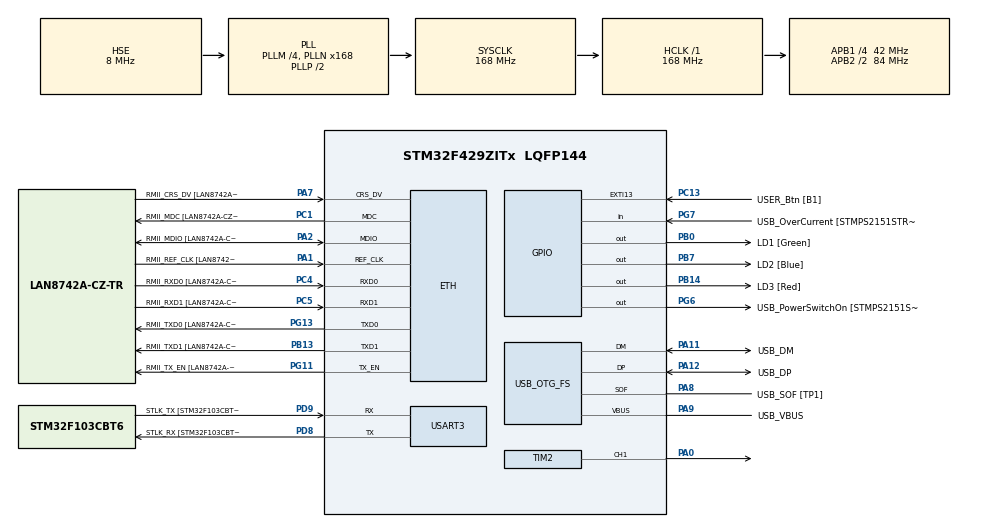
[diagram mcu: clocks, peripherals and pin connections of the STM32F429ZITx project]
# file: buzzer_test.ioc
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ETH.MediaInterface=HAL_ETH_RMII_MODE
ETH.PHY_Name=LAN8742A_PHY_ADDRESS
ETH.PHY_Value=0
ETH.PhyAddress=0
Mcu.Family=STM32F4
Mcu.Name=STM32F429ZITx
Mcu.Package=LQFP144
NVIC.PriorityGroup=NVIC_PRIORITYGROUP_4
NVIC.USART3_IRQn=true\:0\:0\:false\:false\:true\:true\:true\:true
PA0/WKUP.Signal=S_TIM2_CH1_ETR
PA1.GPIO_Label=RMII_REF_CLK [LAN8742A-CZ-TR_REFCLK0]
PA1.Mode=RMII
PA1.Signal=ETH_REF_CLK
PA10.GPIO_Label=USB_ID
PA10.Signal=USB_OTG_FS_ID
PA11.GPIO_Label=USB_DM
PA11.Mode=Device_Only
PA11.Signal=USB_OTG_FS_DM
PA12.GPIO_Label=USB_DP
PA12.Mode=Device_Only
PA12.Signal=USB_OTG_FS_DP
PA13.GPIO_Label=TMS
PA13.Mode=Serial_Wire
PA13.Signal=SYS_JTMS-SWDIO
PA14.GPIO_Label=TCK
PA14.Mode=Serial_Wire
PA14.Signal=SYS_JTCK-SWCLK
PA2.GPIO_Label=RMII_MDIO [LAN8742A-CZ-TR_MDIO]
PA2.Mode=RMII
PA2.Signal=ETH_MDIO
PA7.GPIO_Label=RMII_CRS_DV [LAN8742A-CZ-TR_CRS_DV]
PA7.Mode=RMII
PA7.Signal=ETH_CRS_DV
PA8.GPIO_Label=USB_SOF [TP1]
PA8.Mode=Activate_SOF_FS
PA8.Signal=USB_OTG_FS_SOF
PA9.GPIO_Label=USB_VBUS
PA9.Mode=Activate_VBUS
PA9.Signal=USB_OTG_FS_VBUS
PB0.GPIO_Label=LD1 [Green]
PB0.Signal=GPIO_Output
PB13.GPIO_Label=RMII_TXD1 [LAN8742A-CZ-TR_TXD1]
PB13.Mode=RMII
PB13.Signal=ETH_TXD1
PB14.GPIO_Label=LD3 [Red]
PB14.Signal=GPIO_Output
PB7.GPIO_Label=LD2 [Blue]
PB7.Signal=GPIO_Output
PC1.GPIO_Label=RMII_MDC [LAN8742A-CZ-TR_MDC]
PC1.Mode=RMII
PC1.Signal=ETH_MDC
PC13.GPIO_Label=USER_Btn [B1]
PC13.Signal=GPXTI13
PC14/OSC32_IN.Mode=LSE-External-Oscillator
PC14/OSC32_IN.Signal=RCC_OSC32_IN
PC15/OSC32_OUT.Mode=LSE-External-Oscillator
PC15/OSC32_OUT.Signal=RCC_OSC32_OUT
PC4.GPIO_Label=RMII_RXD0 [LAN8742A-CZ-TR_RXD0]
PC4.Mode=RMII
PC4.Signal=ETH_RXD0
PC5.GPIO_Label=RMII_RXD1 [LAN8742A-CZ-TR_RXD1]
PC5.Mode=RMII
PC5.Signal=ETH_RXD1
PD8.GPIO_Label=STLK_RX [STM32F103CBT6_PA3]
PD8.Mode=Asynchronous
PD8.Signal=USART3_TX
PD9.GPIO_Label=STLK_TX [STM32F103CBT6_PA2]
PD9.Mode=Asynchronous
PD9.Signal=USART3_RX
PG11.GPIO_Label=RMII_TX_EN [LAN8742A-CZ-TR_TXEN]
PG11.Mode=RMII
PG11.Signal=ETH_TX_EN
PG13.GPIO_Label=RMII_TXD0 [LAN8742A-CZ-TR_TXD0]
PG13.Mode=RMII
PG13.Signal=ETH_TXD0
PG6.GPIO_Label=USB_PowerSwitchOn [STMPS2151STR_EN]
PG6.Signal=GPIO_Output
PG7.GPIO_Label=USB_OverCurrent [STMPS2151STR_FAULT]
PG7.Signal=GPIO_Input
PH0/OSC_IN.GPIO_Label=MCO [STM32F103CBT6_PA8]
PH0/OSC_IN.Mode=HSE-External-Clock-Source
PH0/OSC_IN.Signal=RCC_OSC_IN
PH1/OSC_OUT.Mode=HSE-External-Clock-Source
PH1/OSC_OUT.Signal=RCC_OSC_OUT
ProjectManager.HeapSize=0x200
ProjectManager.StackSize=0x400
ProjectManager.TargetToolchain=STM32CubeIDE
RCC.48MHZClocksFreq_Value=48000000
RCC.AHBFreq_Value=168000000
RCC.APB1CLKDivider=RCC_HCLK_DIV4
RCC.APB1Freq_Value=42000000
RCC.APB1TimFreq_Value=84000000
RCC.APB2CLKDivider=RCC_HCLK_DIV2
RCC.APB2Freq_Value=84000000
RCC.APB2TimCLKDivider=2
RCC.APB2TimFreq_Value=168000000
RCC.CortexFreq_Value=168000000
RCC.HCLKFreq_Value=168000000
RCC.HSE_VALUE=8000000
RCC.HSI_VALUE=16000000
RCC.PLLM=4
RCC.PLLMUL=RCC_PLL_MUL9
RCC.PLLN=168
RCC.PLLQ=7
RCC.PRESCALERUSB=RCC_USBCLKSOURCE_PLL_DIV1_5
RCC.SYSCLKFreq_VALUE=168000000
RCC.SYSCLKSource=RCC_SYSCLKSOURCE_PLLCLK
RCC.SYSCLKSourceVirtual=RCC_SYSCLKSOURCE_PLLCLK
RCC.USBFreq_Value=48000000
RCC.VCOOutputFreq_Value=336000000
SH.S_TIM2_CH1_ETR.0=TIM2_CH1,PWM Generation1 CH1
TIM2.AutoReloadPreload=TIM_AUTORELOAD_PRELOAD_ENABLE
TIM2.Channel-PWM\ Generation1\ CH1=TIM_CHANNEL_1
TIM2.CounterMode=TIM_COUNTERMODE_DOWN
TIM2.Period=168-1
TIM2.Prescaler=1000-1
TIM2.Pulse-PWM\ Generation1\ CH1=84
USART3.VirtualMode=VM_ASYNC
USB_OTG_FS.VirtualMode=Device_Only
VP_TIM2_VS_ClockSourceINT.Mode=Internal
board=NUCLEO-F429ZI

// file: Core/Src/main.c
/* USER CODE BEGIN Header */
/**
  ******************************************************************************
  * @file           : main.c
  * @brief          : Main program body
  ******************************************************************************
  * @attention
  *
  * Copyright (c) 2023 STMicroelectronics.
  * All rights reserved.
  *
  * This software is licensed under terms that can be found in the LICENSE file
  * in the root directory of this software component.
  * If no LICENSE file comes with this software, it is provided AS-IS.
  *
  ******************************************************************************
  */
/* USER CODE END Header */
#include "main.h"
#include "string.h"

ETH_TxPacketConfig TxConfig;
ETH_DMADescTypeDef  DMARxDscrTab[ETH_RX_DESC_CNT]; /* Ethernet Rx DMA Descriptors */
ETH_DMADescTypeDef  DMATxDscrTab[ETH_TX_DESC_CNT]; /* Ethernet Tx DMA Descriptors */

ETH_HandleTypeDef heth;

TIM_HandleTypeDef htim2;

UART_HandleTypeDef huart3;

PCD_HandleTypeDef hpcd_USB_OTG_FS;

/* USER CODE BEGIN PV */
typedef enum {
	N = 0,
    C = 956,
    D = 852,
    E = 758,
    F = 716,
    G = 638,
    A = 568,
    B = 506,
    C6 = 478
}_NOTE;
_NOTE note;
uint8_t rx_data=0;
uint32_t IRcalled=0;
/* USER CODE END PV */

void SystemClock_Config(void);
static void MX_GPIO_Init(void);
static void MX_ETH_Init(void);
static void MX_USART3_UART_Init(void);
static void MX_USB_OTG_FS_PCD_Init(void);
static void MX_TIM2_Init(void);
/* USER CODE BEGIN PFP */
void piano(_NOTE note);
_NOTE numtoscale(uint8_t strnum);
/* USER CODE END PFP */

/* USER CODE BEGIN 0 */

_NOTE numtoscale(uint8_t strnum){
	if(strnum=='1'){
		return C;
	}else if(strnum=='2'){
		return D;
	}else if(strnum=='3'){
		return E;
	}else if(strnum=='4'){
		return F;
	}else if(strnum=='5'){
		return G;
	}else if(strnum=='6'){
		return A;
	}else if(strnum=='7'){
		return B;
	}else if(strnum=='8'){
		return C6;
	}else
		return N;
}
void piano(_NOTE scale){

	HAL_TIM_PWM_Start(&htim2, TIM_CHANNEL_1);
	TIM2->PSC = scale;
//	TIM2->ARR = scale;
//	TIM2->CCR1 = TIM2->ARR / 2;
	HAL_Delay(300);
	HAL_TIM_PWM_Stop(&htim2, TIM_CHANNEL_1);

}
/* USER CODE END 0 */

int main(void)
{

  /* MCU Configuration--------------------------------------------------------*/

  /* Reset of all peripherals, Initializes the Flash interface and the Systick. */
  HAL_Init();

  /* Configure the system clock */
  SystemClock_Config();

  /* Initialize all configured peripherals */
  MX_GPIO_Init();
  MX_ETH_Init();
  MX_USART3_UART_Init();
  MX_USB_OTG_FS_PCD_Init();
  MX_TIM2_Init();
  /* USER CODE BEGIN 2 */
  HAL_UART_Receive_IT(&huart3, &rx_data, 1);
 //  uint8_t test[8]={'1','2','3','4','5','6','7','8'};
   uint32_t temp;
  /* USER CODE END 2 */

  /* Infinite loop */
  /* USER CODE BEGIN WHILE */
  while (1)
  {
	  temp=IRcalled;
	  	  if(rx_data!=0){
	  		  note = numtoscale(rx_data);
	  		  piano(note);
	  		  if(temp==IRcalled){
	  			  rx_data=0;
	  		  }
	  	  }
    /* USER CODE END WHILE */

  }
}

void SystemClock_Config(void)
{
  RCC_OscInitTypeDef RCC_OscInitStruct = {0};
  RCC_ClkInitTypeDef RCC_ClkInitStruct = {0};

  /** Configure the main internal regulator output voltage
  */
  __HAL_RCC_PWR_CLK_ENABLE();
  __HAL_PWR_VOLTAGESCALING_CONFIG(PWR_REGULATOR_VOLTAGE_SCALE1);

  /** Initializes the RCC Oscillators according to the specified parameters
  * in the RCC_OscInitTypeDef structure.
  */
  RCC_OscInitStruct.OscillatorType = RCC_OSCILLATORTYPE_HSE;
  RCC_OscInitStruct.HSEState = RCC_HSE_BYPASS;
  RCC_OscInitStruct.PLL.PLLState = RCC_PLL_ON;
  RCC_OscInitStruct.PLL.PLLSource = RCC_PLLSOURCE_HSE;
  RCC_OscInitStruct.PLL.PLLM = 4;
  RCC_OscInitStruct.PLL.PLLN = 168;
  RCC_OscInitStruct.PLL.PLLP = RCC_PLLP_DIV2;
  RCC_OscInitStruct.PLL.PLLQ = 7;
  if (HAL_RCC_OscConfig(&RCC_OscInitStruct) != HAL_OK)
  {
    Error_Handler();
  }

  /** Initializes the CPU, AHB and APB buses clocks
  */
  RCC_ClkInitStruct.ClockType = RCC_CLOCKTYPE_HCLK|RCC_CLOCKTYPE_SYSCLK
                              |RCC_CLOCKTYPE_PCLK1|RCC_CLOCKTYPE_PCLK2;
  RCC_ClkInitStruct.SYSCLKSource = RCC_SYSCLKSOURCE_PLLCLK;
  RCC_ClkInitStruct.AHBCLKDivider = RCC_SYSCLK_DIV1;
  RCC_ClkInitStruct.APB1CLKDivider = RCC_HCLK_DIV4;
  RCC_ClkInitStruct.APB2CLKDivider = RCC_HCLK_DIV2;

  if (HAL_RCC_ClockConfig(&RCC_ClkInitStruct, FLASH_LATENCY_5) != HAL_OK)
  {
    Error_Handler();
  }
}

static void MX_ETH_Init(void)
{

   static uint8_t MACAddr[6];

  heth.Instance = ETH;
  MACAddr[0] = 0x00;
  MACAddr[1] = 0x80;
  MACAddr[2] = 0xE1;
  MACAddr[3] = 0x00;
  MACAddr[4] = 0x00;
  MACAddr[5] = 0x00;
  heth.Init.MACAddr = &MACAddr[0];
  heth.Init.MediaInterface = HAL_ETH_RMII_MODE;
  heth.Init.TxDesc = DMATxDscrTab;
  heth.Init.RxDesc = DMARxDscrTab;
  heth.Init.RxBuffLen = 1524;

  if (HAL_ETH_Init(&heth) != HAL_OK)
  {
    Error_Handler();
  }

  memset(&TxConfig, 0 , sizeof(ETH_TxPacketConfig));
  TxConfig.Attributes = ETH_TX_PACKETS_FEATURES_CSUM | ETH_TX_PACKETS_FEATURES_CRCPAD;
  TxConfig.ChecksumCtrl = ETH_CHECKSUM_IPHDR_PAYLOAD_INSERT_PHDR_CALC;
  TxConfig.CRCPadCtrl = ETH_CRC_PAD_INSERT;

}

static void MX_TIM2_Init(void)
{

  TIM_ClockConfigTypeDef sClockSourceConfig = {0};
  TIM_MasterConfigTypeDef sMasterConfig = {0};
  TIM_OC_InitTypeDef sConfigOC = {0};

  htim2.Instance = TIM2;
  htim2.Init.Prescaler = 1000-1;
  htim2.Init.CounterMode = TIM_COUNTERMODE_DOWN;
  htim2.Init.Period = 168-1;
  htim2.Init.ClockDivision = TIM_CLOCKDIVISION_DIV1;
  htim2.Init.AutoReloadPreload = TIM_AUTORELOAD_PRELOAD_ENABLE;
  if (HAL_TIM_Base_Init(&htim2) != HAL_OK)
  {
    Error_Handler();
  }
  sClockSourceConfig.ClockSource = TIM_CLOCKSOURCE_INTERNAL;
  if (HAL_TIM_ConfigClockSource(&htim2, &sClockSourceConfig) != HAL_OK)
  {
    Error_Handler();
  }
  if (HAL_TIM_PWM_Init(&htim2) != HAL_OK)
  {
    Error_Handler();
  }
  sMasterConfig.MasterOutputTrigger = TIM_TRGO_RESET;
  sMasterConfig.MasterSlaveMode = TIM_MASTERSLAVEMODE_DISABLE;
  if (HAL_TIMEx_MasterConfigSynchronization(&htim2, &sMasterConfig) != HAL_OK)
  {
    Error_Handler();
  }
  sConfigOC.OCMode = TIM_OCMODE_PWM1;
  sConfigOC.Pulse = 84;
  sConfigOC.OCPolarity = TIM_OCPOLARITY_HIGH;
  sConfigOC.OCFastMode = TIM_OCFAST_DISABLE;
  if (HAL_TIM_PWM_ConfigChannel(&htim2, &sConfigOC, TIM_CHANNEL_1) != HAL_OK)
  {
    Error_Handler();
  }
  HAL_TIM_MspPostInit(&htim2);

}

static void MX_USART3_UART_Init(void)
{

  huart3.Instance = USART3;
  huart3.Init.BaudRate = 115200;
  huart3.Init.WordLength = UART_WORDLENGTH_8B;
  huart3.Init.StopBits = UART_STOPBITS_1;
  huart3.Init.Parity = UART_PARITY_NONE;
  huart3.Init.Mode = UART_MODE_TX_RX;
  huart3.Init.HwFlowCtl = UART_HWCONTROL_NONE;
  huart3.Init.OverSampling = UART_OVERSAMPLING_16;
  if (HAL_UART_Init(&huart3) != HAL_OK)
  {
    Error_Handler();
  }

}

static void MX_USB_OTG_FS_PCD_Init(void)
{

  hpcd_USB_OTG_FS.Instance = USB_OTG_FS;
  hpcd_USB_OTG_FS.Init.dev_endpoints = 4;
  hpcd_USB_OTG_FS.Init.speed = PCD_SPEED_FULL;
  hpcd_USB_OTG_FS.Init.dma_enable = DISABLE;
  hpcd_USB_OTG_FS.Init.phy_itface = PCD_PHY_EMBEDDED;
  hpcd_USB_OTG_FS.Init.Sof_enable = ENABLE;
  hpcd_USB_OTG_FS.Init.low_power_enable = DISABLE;
  hpcd_USB_OTG_FS.Init.lpm_enable = DISABLE;
  hpcd_USB_OTG_FS.Init.vbus_sensing_enable = ENABLE;
  hpcd_USB_OTG_FS.Init.use_dedicated_ep1 = DISABLE;
  if (HAL_PCD_Init(&hpcd_USB_OTG_FS) != HAL_OK)
  {
    Error_Handler();
  }

}

static void MX_GPIO_Init(void)
{
  GPIO_InitTypeDef GPIO_InitStruct = {0};

  /* GPIO Ports Clock Enable */
  __HAL_RCC_GPIOC_CLK_ENABLE();
  __HAL_RCC_GPIOH_CLK_ENABLE();
  __HAL_RCC_GPIOA_CLK_ENABLE();
  __HAL_RCC_GPIOB_CLK_ENABLE();
  __HAL_RCC_GPIOD_CLK_ENABLE();
  __HAL_RCC_GPIOG_CLK_ENABLE();

  /*Configure GPIO pin Output Level */
  HAL_GPIO_WritePin(GPIOB, LD1_Pin|LD3_Pin|LD2_Pin, GPIO_PIN_RESET);

  /*Configure GPIO pin Output Level */
  HAL_GPIO_WritePin(USB_PowerSwitchOn_GPIO_Port, USB_PowerSwitchOn_Pin, GPIO_PIN_RESET);

  /*Configure GPIO pin : USER_Btn_Pin */
  GPIO_InitStruct.Pin = USER_Btn_Pin;
  GPIO_InitStruct.Mode = GPIO_MODE_IT_RISING;
  GPIO_InitStruct.Pull = GPIO_NOPULL;
  HAL_GPIO_Init(USER_Btn_GPIO_Port, &GPIO_InitStruct);

  /*Configure GPIO pins : LD1_Pin LD3_Pin LD2_Pin */
  GPIO_InitStruct.Pin = LD1_Pin|LD3_Pin|LD2_Pin;
  GPIO_InitStruct.Mode = GPIO_MODE_OUTPUT_PP;
  GPIO_InitStruct.Pull = GPIO_NOPULL;
  GPIO_InitStruct.Speed = GPIO_SPEED_FREQ_LOW;
  HAL_GPIO_Init(GPIOB, &GPIO_InitStruct);

  /*Configure GPIO pin : USB_PowerSwitchOn_Pin */
  GPIO_InitStruct.Pin = USB_PowerSwitchOn_Pin;
  GPIO_InitStruct.Mode = GPIO_MODE_OUTPUT_PP;
  GPIO_InitStruct.Pull = GPIO_NOPULL;
  GPIO_InitStruct.Speed = GPIO_SPEED_FREQ_LOW;
  HAL_GPIO_Init(USB_PowerSwitchOn_GPIO_Port, &GPIO_InitStruct);

  /*Configure GPIO pin : USB_OverCurrent_Pin */
  GPIO_InitStruct.Pin = USB_OverCurrent_Pin;
  GPIO_InitStruct.Mode = GPIO_MODE_INPUT;
  GPIO_InitStruct.Pull = GPIO_NOPULL;
  HAL_GPIO_Init(USB_OverCurrent_GPIO_Port, &GPIO_InitStruct);

}

/* USER CODE BEGIN 4 */
void HAL_UART_RxCpltCallback(UART_HandleTypeDef *huart)
{
  if(huart->Instance == USART3){
	  HAL_UART_Receive_IT(&huart3, &rx_data, 1);
	  HAL_UART_Transmit(&huart3, &rx_data, 1, 10);

	  IRcalled++;
  }
}
/* USER CODE END 4 */

void Error_Handler(void)
{
  __disable_irq();
  while (1)
  {
  }
}
